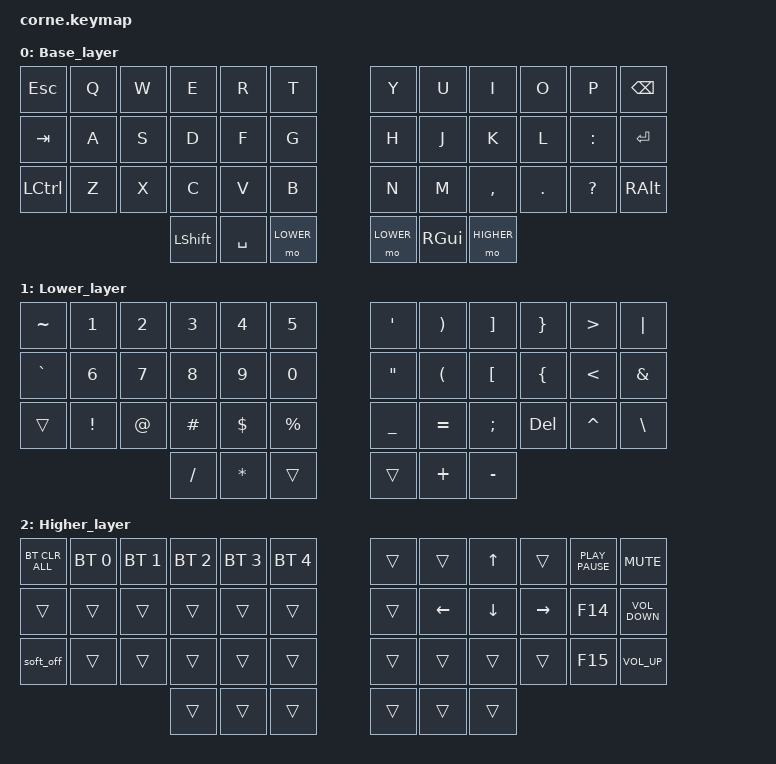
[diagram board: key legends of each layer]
#include <behaviors.dtsi>
#include <dt-bindings/zmk/bt.h>
#include <dt-bindings/zmk/keys.h>

#define BASE 0
#define LOWER 1
#define HIGHER 2

/ {
    keymap {
        compatible = "zmk,keymap";

        Base_layer {
            bindings = <
&kp ESCAPE        &kp Q  &kp W  &kp E           &kp R      &kp T        &kp Y      &kp U          &kp I       &kp O       &kp P         &kp BACKSPACE
&kp TAB           &kp A  &kp S  &kp D           &kp F      &kp G        &kp H      &kp J          &kp K       &kp L       &kp COLON     &kp RETURN
&kp LEFT_CONTROL  &kp Z  &kp X  &kp C           &kp V      &kp B        &kp N      &kp M          &kp COMMA   &kp PERIOD  &kp QUESTION  &kp RIGHT_ALT
                                &kp LEFT_SHIFT  &kp SPACE  &mo LOWER    &mo LOWER  &kp RIGHT_GUI  &mo HIGHER
            >;
        };

        Lower_layer {
            bindings = <
&kp TILDE        &kp NUMBER_1  &kp NUMBER_2  &kp NUMBER_3  &kp NUMBER_4  &kp NUMBER_5    &kp SINGLE_QUOTE   &kp RIGHT_PARENTHESIS  &kp RIGHT_BRACKET  &kp RIGHT_BRACE  &kp GT      &kp PIPE
&kp GRAVE        &kp NUMBER_6  &kp NUMBER_7  &kp NUMBER_8  &kp NUMBER_9  &kp NUMBER_0    &kp DOUBLE_QUOTES  &kp LEFT_PARENTHESIS   &kp LEFT_BRACKET   &kp LEFT_BRACE   &kp LT      &kp AMPERSAND
&trans &kp EXCLAMATION  &kp AT_SIGN   &kp HASH      &kp DOLLAR    &kp PERCENT         &kp UNDERSCORE     &kp EQUAL              &kp SEMICOLON     &kp DELETE  &kp CARET &kp BACKSLASH
                                             &kp SLASH     &kp ASTERISK  &trans          &trans             &kp PLUS               &kp MINUS
            >;
        };

        Higher_layer {
            bindings = <
&bt BT_CLR_ALL  &bt BT_SEL 0  &bt BT_SEL 1  &bt BT_SEL 2  &bt BT_SEL 3  &bt BT_SEL 4    &trans  &trans    &kp UP    &trans     &kp K_PLAY_PAUSE  &kp K_MUTE
&trans          &trans        &trans        &trans        &trans        &trans          &trans  &kp LEFT  &kp DOWN  &kp RIGHT  &kp F14           &kp K_VOLUME_DOWN
&soft_off       &trans        &trans        &trans        &trans        &trans          &trans  &trans    &trans    &trans     &kp F15           &kp K_VOLUME_UP
                                            &trans        &trans        &trans          &trans  &trans    &trans
            >;
        };
    };
};
